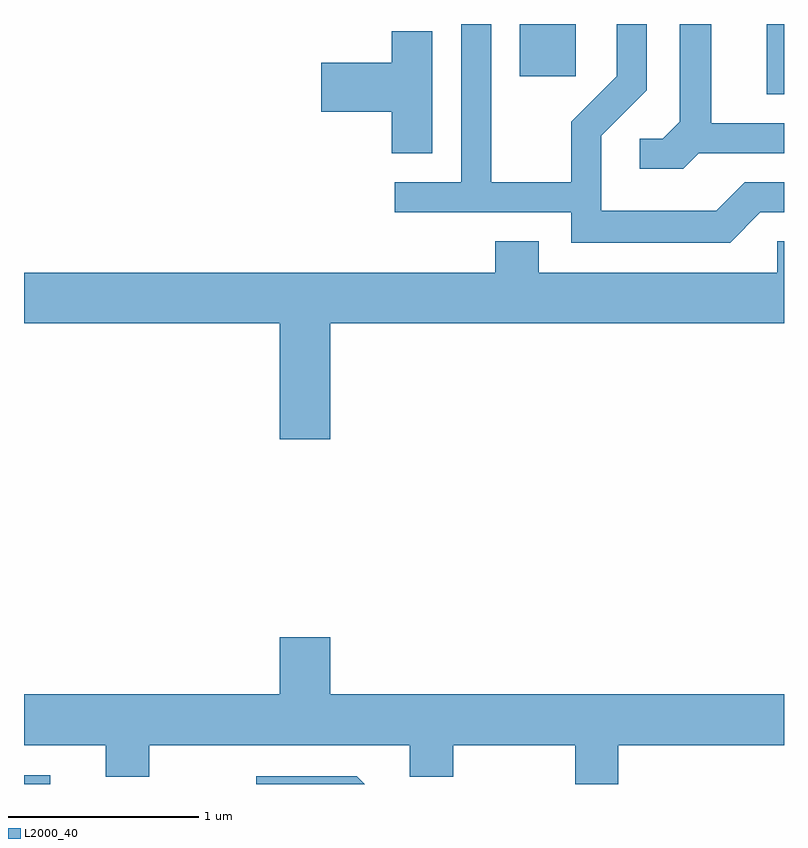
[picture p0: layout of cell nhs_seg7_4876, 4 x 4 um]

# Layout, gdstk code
import gdstk
lib = gdstk.Library(unit=1e-6, precision=1e-09)
def R(c, l, rs):  # rectangles x0, y0, x1, y1
    for r in rs: c.add(gdstk.rectangle(r[:2], r[2:], *l))
def P(c, l, *ps):  # polygons
    for p in ps: c.add(gdstk.Polygon(p, *l))
L2000_40 = (2000, 40)

nhs_seg7_4876 = lib.new_cell('nhs_seg7_4876')
R(nhs_seg7_4876, L2000_40, [(333.611,1796.252,333.749,1796.299), (337.521,1799.881,337.611,1800.252), (336.221,1799.976,336.514,1800.252)])
P(nhs_seg7_4876, L2000_40, [(337.162,1799.571),(337.611,1799.571),(337.611,1799.729),(337.229,1799.729),(337.229,1800.252),(337.061,1800.252),(337.061,1799.737),(336.974,1799.649),(336.853,1799.649),(336.853,1799.491),(337.082,1799.491)],
  [(337.487,1799.261),(337.611,1799.261),(337.611,1799.419),(337.404,1799.419),(337.254,1799.269),(336.649,1799.269),(336.649,1799.664),(336.889,1799.904),(336.889,1800.252),(336.731,1800.252),(336.731,1799.977),(336.491,1799.737),(336.491,1799.419),(336.069,1799.419),(336.069,1800.252),(335.911,1800.252),(335.911,1799.419),(335.563,1799.419),(335.563,1799.261),(336.491,1799.261),(336.491,1799.101),(337.327,1799.101)],
  [(335.759,1800.214),(335.546,1800.214),(335.546,1800.049),(335.176,1800.049),(335.176,1799.791),(335.546,1799.791),(335.546,1799.571),(335.759,1799.571)],
  [(335.224,1798.676),(337.611,1798.676),(337.611,1799.109),(337.576,1799.109),(337.576,1798.944),(336.319,1798.944),(336.319,1799.109),(336.091,1799.109),(336.091,1798.944),(333.611,1798.944),(333.611,1798.676),(334.956,1798.676),(334.956,1798.066),(335.224,1798.066)],
  [(336.739,1796.456),(337.611,1796.456),(337.611,1796.724),(335.224,1796.724),(335.224,1797.024),(334.956,1797.024),(334.956,1796.724),(333.611,1796.724),(333.611,1796.456),(334.041,1796.456),(334.041,1796.291),(334.269,1796.291),(334.269,1796.456),(335.641,1796.456),(335.641,1796.291),(335.869,1796.291),(335.869,1796.456),(336.511,1796.456),(336.511,1796.252),(336.739,1796.252)],
  [(335.362,1796.294),(334.833,1796.294),(334.833,1796.252),(335.404,1796.252)])

lib.write_gds('nhs_seg7_4876.gds')
